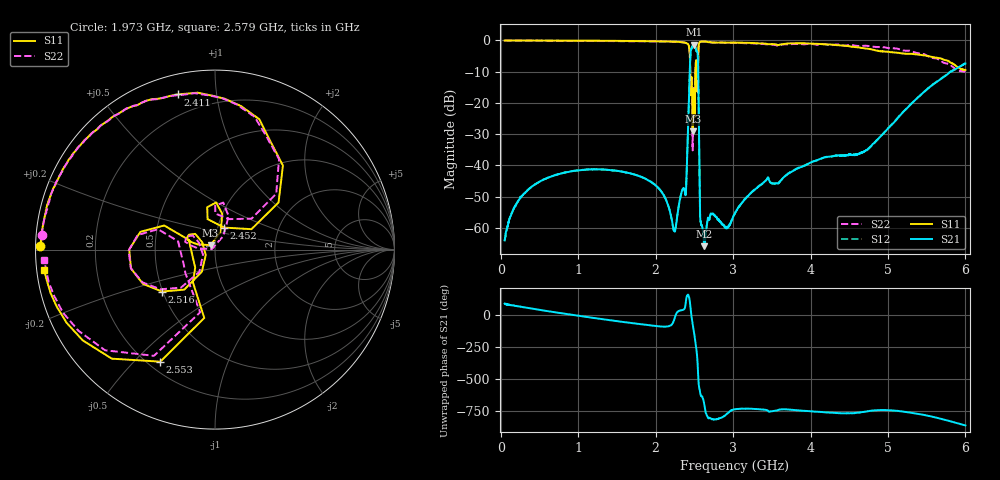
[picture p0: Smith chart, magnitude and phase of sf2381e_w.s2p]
# Hz S RI R 50
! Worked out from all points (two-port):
!   1601 points, 50 MHz to 6 GHz, reference 50 ohm
!   highest |S21| = -1.38 dB at 2.497 GHz (marker M1); lowest = -65.9 dB at 2.627 GHz (marker M2)
!   |S21| within 3 dB of the highest: 2.451 GHz to 2.543 GHz (91.75 MHz wide, 3.67 % of centre)
!   lowest |S11| = -29.1 dB at 2.478 GHz (marker M3), VSWR 1.07, Z = 47.5 + j2.38 ohm
!   |S11| at or under -10 dB: 2.447 GHz to 2.513 GHz (66.5 MHz wide, 2.68 % of centre); 2.534 GHz to 2.548 GHz (13.67 MHz wide, 0.538 % of centre)
!   |S22| runs from -35.2 to 0.0 dB; largest |S21 - S12| = 0.021
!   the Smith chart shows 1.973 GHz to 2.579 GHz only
!   S11 on the Smith chart (normalised r, x): 1.973 GHz: 0.01, +0.01; 2.411 GHz: 0.10, +0.78; 2.452 GHz: 1.07, +0.27; 2.516 GHz: 0.50, -0.27; 2.553 GHz: 0.25, -0.60; 2.579 GHz: 0.02, -0.06
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5e7  0.9949 -0.0927  3.65e-05 0.000628  2.91e-05 0.000631  0.9949 -0.0934
3.698125e8  0.7889 -0.6152  0.00265 0.00331  0.00263 0.00334  0.7802 -0.6175
1.042906e9  -0.1745 -0.9782  0.00824 -0.00168  0.00826 -0.00166  -0.2336 -0.9545
1.972594e9  -0.9727 0.0219  0.00036 -0.00509  0.000332 -0.00507  -0.9657 0.0796
2.035812e9  -0.9608 0.1248  2.51e-06 -0.00437  1.8e-05 -0.00434  -0.9502 0.1707
2.247781e9  -0.8171 0.4967  0.000791 -0.000363  0.000798 -0.000349  -0.805 0.5107
2.374219e9  -0.5052 0.7792  0.00263 0.00298  0.00267 0.003  -0.4975 0.7843
2.411406e9  -0.207 0.8644  -0.0169 0.0094  -0.0169 0.0094  -0.2134 0.8597
2.452312e9  0.0515 0.1225  0.463 0.4387  0.4631 0.4392  0.0824 0.1698
2.478344e9  -0.0246 0.025  0.2491 -0.7737  0.25 -0.7748  -0.0172 0.00268
2.496938e9  -0.1099 0.0876  -0.6791 -0.5169  -0.6785 -0.5195  -0.1253 0.0793
2.515531e9  -0.295 -0.2337  -0.5645 0.5077  -0.5652 0.5059  -0.3045 -0.2212
2.552719e9  -0.3049 -0.6243  -0.1499 -0.0676  -0.1495 -0.0676  -0.3402 -0.5918
2.57875e9  -0.9526 -0.1145  -0.000251 0.00124  -0.00022 0.00123  -0.9515 -0.0589
2.597344e9  -0.9615 0.0986  0.000165 0.00108  0.000158 0.00106  -0.9505 0.142
2.627094e9  -0.9206 0.2944  0.000463 0.00021  0.000515 0.000222  -0.9001 0.3303
3.025e9  -0.4532 0.81  0.0016 -0.000561  0.00161 -0.000568  -0.3778 0.8332
4.017906e9  0.4118 0.7881  0.00927 -0.00658  0.00939 -0.00648  0.5983 0.6481
4.583156e9  0.7804 0.0782  0.0101 -0.0112  0.0102 -0.0109  0.823 0.0717
5.010812e9  0.3813 -0.5353  0.0361 -0.0179  0.0358 -0.0186  0.6106 -0.4434
5.616969e9  -0.4258 -0.3199  0.0244 -0.211  0.0228 -0.2127  -0.2002 -0.4772
6e9  -0.2771 0.1938  -0.3532 -0.2429  -0.3444 -0.2506  -0.3146 0.00668
